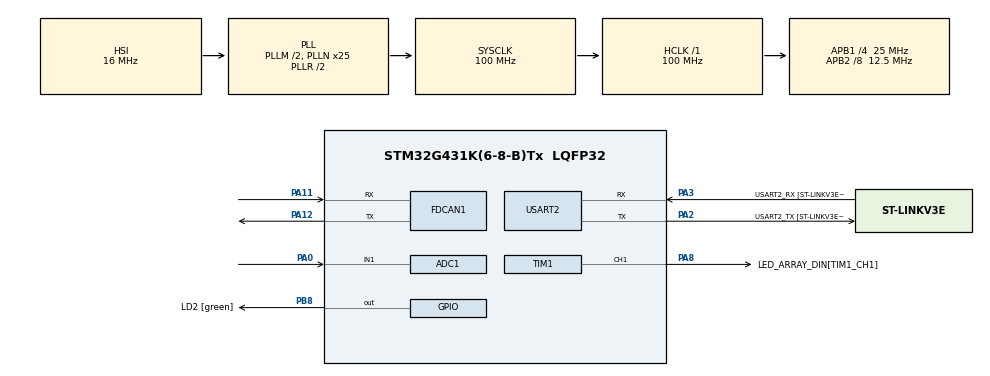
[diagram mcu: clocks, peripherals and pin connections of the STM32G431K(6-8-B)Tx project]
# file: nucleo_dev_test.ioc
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ADC1.Channel-1\#ChannelRegularConversion=ADC_CHANNEL_1
ADC1.ClockPrescaler=ADC_CLOCK_SYNC_PCLK_DIV4
ADC1.ContinuousConvMode=ENABLE
ADC1.NbrOfConversionFlag=1
ADC1.OffsetNumber-1\#ChannelRegularConversion=ADC_OFFSET_NONE
ADC1.Rank-1\#ChannelRegularConversion=1
ADC1.SamplingTime-1\#ChannelRegularConversion=ADC_SAMPLETIME_2CYCLES_5
ADC1.master=1
Dma.Request0=TIM1_CH1
Dma.TIM1_CH1.0.Direction=DMA_MEMORY_TO_PERIPH
Dma.TIM1_CH1.0.EventEnable=DISABLE
Dma.TIM1_CH1.0.Instance=DMA1_Channel1
Dma.TIM1_CH1.0.MemDataAlignment=DMA_MDATAALIGN_HALFWORD
Dma.TIM1_CH1.0.MemInc=DMA_MINC_ENABLE
Dma.TIM1_CH1.0.Mode=DMA_NORMAL
Dma.TIM1_CH1.0.PeriphDataAlignment=DMA_PDATAALIGN_HALFWORD
Dma.TIM1_CH1.0.PeriphInc=DMA_PINC_DISABLE
Dma.TIM1_CH1.0.Polarity=HAL_DMAMUX_REQ_GEN_RISING
Dma.TIM1_CH1.0.Priority=DMA_PRIORITY_MEDIUM
Dma.TIM1_CH1.0.RequestNumber=1
Dma.TIM1_CH1.0.SignalID=NONE
Dma.TIM1_CH1.0.SyncEnable=DISABLE
Dma.TIM1_CH1.0.SyncPolarity=HAL_DMAMUX_SYNC_NO_EVENT
Dma.TIM1_CH1.0.SyncRequestNumber=1
Dma.TIM1_CH1.0.SyncSignalID=NONE
FDCAN1.CalculateBaudRateNominal=1000000
FDCAN1.CalculateTimeBitNominal=1000
FDCAN1.CalculateTimeQuantumNominal=40.0
FDCAN1.DataSyncJumpWidth=3
FDCAN1.DataTimeSeg1=20
FDCAN1.DataTimeSeg2=4
FDCAN1.NominalPrescaler=1
FDCAN1.NominalTimeSeg1=20
FDCAN1.NominalTimeSeg2=4
Mcu.Family=STM32G4
Mcu.Name=STM32G431K(6-8-B)Tx
Mcu.Package=LQFP32
NVIC.DMA1_Channel1_IRQn=true\:0\:0\:false\:false\:true\:false\:true\:true
NVIC.FDCAN1_IT0_IRQn=true\:0\:0\:false\:false\:true\:true\:true\:true
NVIC.PriorityGroup=NVIC_PRIORITYGROUP_4
PA0.Mode=IN1-Single-Ended
PA0.Signal=ADC1_IN1
PA11.Mode=FDCAN_Activate
PA11.Signal=FDCAN1_RX
PA12.Mode=FDCAN_Activate
PA12.Signal=FDCAN1_TX
PA13.GPIO_Label=T_SWDIO
PA13.Mode=Serial_Wire
PA13.Signal=SYS_JTMS-SWDIO
PA14.GPIO_Label=T_SWCLK
PA14.Mode=Serial_Wire
PA14.Signal=SYS_JTCK-SWCLK
PA2.GPIO_Label=USART2_TX [ST-LINKV3E_VCP_RX]
PA2.Mode=Asynchronous
PA2.Signal=USART2_TX
PA3.GPIO_Label=USART2_RX [ST-LINKV3E_VCP_TX]
PA3.Mode=Asynchronous
PA3.Signal=USART2_RX
PA8.GPIO_Label=LED_ARRAY_DIN[TIM1_CH1]
PA8.Signal=S_TIM1_CH1
PB3.GPIO_Label=T_SWO
PB3.Signal=SYS_JTDO-SWO
PB8-BOOT0.GPIO_Label=LD2 [green]
PB8-BOOT0.Signal=GPIO_Output
ProjectManager.HeapSize=0x200
ProjectManager.StackSize=0x400
ProjectManager.TargetToolchain=Makefile
RCC.ADC12Freq_Value=100000000
RCC.AHBFreq_Value=100000000
RCC.APB1CLKDivider=RCC_HCLK_DIV4
RCC.APB1Freq_Value=25000000
RCC.APB1TimFreq_Value=50000000
RCC.APB2CLKDivider=RCC_HCLK_DIV8
RCC.APB2Freq_Value=12500000
RCC.APB2TimFreq_Value=25000000
RCC.CortexFreq_Value=100000000
RCC.EXTERNAL_CLOCK_VALUE=12288000
RCC.HCLKFreq_Value=100000000
RCC.HSE_VALUE=8000000
RCC.HSI48_VALUE=48000000
RCC.HSI_VALUE=16000000
RCC.LSE_VALUE=32768
RCC.PLLM=RCC_PLLM_DIV2
RCC.PLLN=25
RCC.SYSCLKFreq_VALUE=100000000
RCC.SYSCLKSource=RCC_SYSCLKSOURCE_PLLCLK
RCC.USBFreq_Value=100000000
RCC.VCOOutputFreq_Value=200000000
SH.S_TIM1_CH1.0=TIM1_CH1,PWM Generation1 CH1
TIM1.AutoReloadPreload=TIM_AUTORELOAD_PRELOAD_ENABLE
TIM1.BreakPolarity=TIM_BREAKPOLARITY_HIGH
TIM1.BreakState=TIM_BREAK_DISABLE
TIM1.Channel-PWM\ Generation1\ CH1=TIM_CHANNEL_1
TIM1.OC1Preload_PWM=ENABLE
TIM1.OCPolarity_1=TIM_OCPOLARITY_HIGH
TIM1.PeriodNoDither=30
USART2.VirtualMode-Asynchronous=VM_ASYNC
USART2.WordLength=WORDLENGTH_8B
VP_SYS_VS_DBSignals.Mode=DisableDeadBatterySignals
VP_TIM1_VS_ClockSourceINT.Mode=Internal
board=NUCLEO-G431KB

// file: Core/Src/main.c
/* USER CODE BEGIN Header */
/**
 ******************************************************************************
 * @file           : main.c
 * @brief          : Main program body
 ******************************************************************************
 * @attention
 *
 * Copyright (c) 2024 STMicroelectronics.
 * All rights reserved.
 *
 * This software is licensed under terms that can be found in the LICENSE file
 * in the root directory of this software component.
 * If no LICENSE file comes with this software, it is provided AS-IS.
 *
 ******************************************************************************
 */
#include <stdbool.h>
#include <stdio.h>

#include "led_constants.h"
#include "ws2812b_driver.h"
 /* USER CODE END Header */
 /* Includes ------------------------------------------------------------------*/
#include "main.h"

ADC_HandleTypeDef hadc1;

FDCAN_HandleTypeDef hfdcan1;

TIM_HandleTypeDef htim1;
DMA_HandleTypeDef hdma_tim1_ch1;

UART_HandleTypeDef huart2;

/* USER CODE BEGIN PV */
uint8_t custom_led_data[NUM_LEDS][3];                                      // Array that is filled with set_led functions. This essentially "draw" a custom led data in code, useful for testing.
uint16_t pwm_dc_buffer[PWM_DC_BUFFER_SIZE * NUM_BITS_PER_LED + 4];  // Array that contains values to be assigned to the compare register TIMx_CCRx (duty cycle). The additional 4 is for padding 0s between the real DC values, which makes PWM + DMA work better without wrong cycles.

FDCAN_RxHeaderTypeDef RxHeader;
uint8_t RxData[CAN_DLC];

char uart_buffer[50];
uint32_t last_received_valid_data_time;  // The last time [ms] it receives from MPU about the brake status.
uint16_t BRIGHTNESS;               // The sampled ADC value that represents brightness.
volatile bool no_data_received_flag;
volatile enum DISPLAY current_img_on_display;
/* USER CODE END PV */

void SystemClock_Config(void);
static void MX_GPIO_Init(void);
static void MX_DMA_Init(void);
static void MX_USART2_UART_Init(void);
static void MX_ADC1_Init(void);
static void MX_TIM1_Init(void);
static void MX_FDCAN1_Init(void);

/* USER CODE BEGIN 0 */

// Perform single conversion ADC.
uint16_t sample_ADC() {
    HAL_ADC_Start(&hadc1);
    HAL_ADC_PollForConversion(&hadc1, 100);
    uint16_t val = HAL_ADC_GetValue(&hadc1);
    HAL_ADC_Stop(&hadc1);
    return val;
}
// Codes for testing pwm.
// uint16_t test_pwm_buffer[] = { 0, 0, 10, 10, 10, 10, 20, 10, 15, 15, 0, 0 };
// uint16_t test_pwm_buffer2[] = { 0, 0, 20, 20, 15, 10, 5, 5, 0, 0 };
// void send_pwm(uint16_t* pwm_array, int size) {
//     while (hdma_tim1_ch1.State != HAL_DMA_STATE_READY) {}
//     HAL_TIM_PWM_Start_DMA(&htim1, TIM_CHANNEL_1, (uint32_t*)pwm_array, size / sizeof(uint16_t));
// }

/* USER CODE END 0 */

int main(void) {

    /* MCU Configuration--------------------------------------------------------*/

    /* Reset of all peripherals, Initializes the Flash interface and the Systick. */
    HAL_Init();

    /* Configure the system clock */
    SystemClock_Config();

    /* Initialize all configured peripherals */
    MX_GPIO_Init();
    MX_DMA_Init();
    MX_USART2_UART_Init();
    MX_ADC1_Init();
    MX_TIM1_Init();
    MX_FDCAN1_Init();
    /* USER CODE BEGIN 2 */

    // Initialize global variables.
    memset(pwm_dc_buffer, 0, sizeof(pwm_dc_buffer));
    BRIGHTNESS = 500; // BRIGHTNESS = sample_ADC();
    no_data_received_flag = false;
    last_received_valid_data_time = HAL_GetTick();
    current_img_on_display = OTHER_IMG;
    // Start the led matrix with a husky logo for 2 seconds.
    uint32_t current_time = HAL_GetTick();
    uint32_t end_time = current_time + 2000;
    uint32_t animation_start_time = current_time;
    while (current_time < end_time) {
        show_husky_animation(animation_start_time, BRIGHTNESS);
        current_time = HAL_GetTick();
    }
    // Set it back to black.
    send_led_data(FILLED_BLACK, BRIGHTNESS);
    /* USER CODE END 2 */

    /* Infinite loop */
    /* USER CODE BEGIN WHILE */
    while (1) {
        current_time = HAL_GetTick();
        // If it doesn't hear back from MPU for TIMEOUT_PERIOD about the brake status, blink yellow.
        if (current_time - last_received_valid_data_time > TIMEOUT_PERIOD) {
            no_data_received_flag = true;
            uint32_t animation_start_time = HAL_GetTick();
            while (no_data_received_flag) {
                show_blinking_animation(animation_start_time, 500, COLOR_YELLOW, BRIGHTNESS);
            }
        }
    }
    /* USER CODE END WHILE */

}

void SystemClock_Config(void) {
    RCC_OscInitTypeDef RCC_OscInitStruct = { 0 };
    RCC_ClkInitTypeDef RCC_ClkInitStruct = { 0 };

    /** Configure the main internal regulator output voltage
     */
    HAL_PWREx_ControlVoltageScaling(PWR_REGULATOR_VOLTAGE_SCALE1);

    /** Initializes the RCC Oscillators according to the specified parameters
     * in the RCC_OscInitTypeDef structure.
     */
    RCC_OscInitStruct.OscillatorType = RCC_OSCILLATORTYPE_HSI;
    RCC_OscInitStruct.HSIState = RCC_HSI_ON;
    RCC_OscInitStruct.HSICalibrationValue = RCC_HSICALIBRATION_DEFAULT;
    RCC_OscInitStruct.PLL.PLLState = RCC_PLL_ON;
    RCC_OscInitStruct.PLL.PLLSource = RCC_PLLSOURCE_HSI;
    RCC_OscInitStruct.PLL.PLLM = RCC_PLLM_DIV2;
    RCC_OscInitStruct.PLL.PLLN = 25;
    RCC_OscInitStruct.PLL.PLLP = RCC_PLLP_DIV2;
    RCC_OscInitStruct.PLL.PLLQ = RCC_PLLQ_DIV2;
    RCC_OscInitStruct.PLL.PLLR = RCC_PLLR_DIV2;
    if (HAL_RCC_OscConfig(&RCC_OscInitStruct) != HAL_OK) {
        Error_Handler();
    }

    /** Initializes the CPU, AHB and APB buses clocks
     */
    RCC_ClkInitStruct.ClockType = RCC_CLOCKTYPE_HCLK | RCC_CLOCKTYPE_SYSCLK | RCC_CLOCKTYPE_PCLK1 | RCC_CLOCKTYPE_PCLK2;
    RCC_ClkInitStruct.SYSCLKSource = RCC_SYSCLKSOURCE_PLLCLK;
    RCC_ClkInitStruct.AHBCLKDivider = RCC_SYSCLK_DIV1;
    RCC_ClkInitStruct.APB1CLKDivider = RCC_HCLK_DIV4;
    RCC_ClkInitStruct.APB2CLKDivider = RCC_HCLK_DIV8;

    if (HAL_RCC_ClockConfig(&RCC_ClkInitStruct, FLASH_LATENCY_3) != HAL_OK) {
        Error_Handler();
    }
}

static void MX_ADC1_Init(void) {

    ADC_MultiModeTypeDef multimode = { 0 };
    ADC_ChannelConfTypeDef sConfig = { 0 };

    /** Common config
     */
    hadc1.Instance = ADC1;
    hadc1.Init.ClockPrescaler = ADC_CLOCK_SYNC_PCLK_DIV4;
    hadc1.Init.Resolution = ADC_RESOLUTION_12B;
    hadc1.Init.DataAlign = ADC_DATAALIGN_RIGHT;
    hadc1.Init.GainCompensation = 0;
    hadc1.Init.ScanConvMode = ADC_SCAN_DISABLE;
    hadc1.Init.EOCSelection = ADC_EOC_SINGLE_CONV;
    hadc1.Init.LowPowerAutoWait = DISABLE;
    hadc1.Init.ContinuousConvMode = ENABLE;
    hadc1.Init.NbrOfConversion = 1;
    hadc1.Init.DiscontinuousConvMode = DISABLE;
    hadc1.Init.ExternalTrigConv = ADC_SOFTWARE_START;
    hadc1.Init.ExternalTrigConvEdge = ADC_EXTERNALTRIGCONVEDGE_NONE;
    hadc1.Init.DMAContinuousRequests = DISABLE;
    hadc1.Init.Overrun = ADC_OVR_DATA_PRESERVED;
    hadc1.Init.OversamplingMode = DISABLE;
    if (HAL_ADC_Init(&hadc1) != HAL_OK) {
        Error_Handler();
    }

    /** Configure the ADC multi-mode
     */
    multimode.Mode = ADC_MODE_INDEPENDENT;
    if (HAL_ADCEx_MultiModeConfigChannel(&hadc1, &multimode) != HAL_OK) {
        Error_Handler();
    }

    /** Configure Regular Channel
     */
    sConfig.Channel = ADC_CHANNEL_1;
    sConfig.Rank = ADC_REGULAR_RANK_1;
    sConfig.SamplingTime = ADC_SAMPLETIME_2CYCLES_5;
    sConfig.SingleDiff = ADC_SINGLE_ENDED;
    sConfig.OffsetNumber = ADC_OFFSET_NONE;
    sConfig.Offset = 0;
    if (HAL_ADC_ConfigChannel(&hadc1, &sConfig) != HAL_OK) {
        Error_Handler();
    }
}

static void MX_FDCAN1_Init(void) {

    hfdcan1.Instance = FDCAN1;
    hfdcan1.Init.ClockDivider = FDCAN_CLOCK_DIV1;
    hfdcan1.Init.FrameFormat = FDCAN_FRAME_CLASSIC;
    hfdcan1.Init.Mode = FDCAN_MODE_NORMAL;
    hfdcan1.Init.AutoRetransmission = DISABLE;
    hfdcan1.Init.TransmitPause = DISABLE;
    hfdcan1.Init.ProtocolException = DISABLE;
    hfdcan1.Init.NominalPrescaler = 1;
    hfdcan1.Init.NominalSyncJumpWidth = 1;
    hfdcan1.Init.NominalTimeSeg1 = 20;
    hfdcan1.Init.NominalTimeSeg2 = 4;
    hfdcan1.Init.DataPrescaler = 1;
    hfdcan1.Init.DataSyncJumpWidth = 3;
    hfdcan1.Init.DataTimeSeg1 = 20;
    hfdcan1.Init.DataTimeSeg2 = 4;
    hfdcan1.Init.StdFiltersNbr = 0;
    hfdcan1.Init.ExtFiltersNbr = 0;
    hfdcan1.Init.TxFifoQueueMode = FDCAN_TX_FIFO_OPERATION;
    if (HAL_FDCAN_Init(&hfdcan1) != HAL_OK) {
        Error_Handler();
    }
    /* USER CODE BEGIN FDCAN1_Init 2 */

    // Set up filter that only listen to steering wheel messages.
    FDCAN_FilterTypeDef filter_config;
    filter_config.IdType = FDCAN_STANDARD_ID;      // 11-bit standard identifiers
    filter_config.FilterIndex = 0;                 // Use filter 0
    filter_config.FilterType = FDCAN_FILTER_DUAL;  // Use a filter that matches one or two specific ids.
    filter_config.FilterID1 = TARGET_MSG_ID;
    filter_config.FilterID2 = TARGET_MSG_ID;
    filter_config.FilterConfig = FDCAN_FILTER_TO_RXFIFO0;  // Store in RxFIFO0 for messages that passes the filter.
    HAL_FDCAN_ConfigFilter(&hfdcan1, &filter_config);

    // Enable Interrupt whenever RxFIFO0 has a new message.
    HAL_FDCAN_ActivateNotification(&hfdcan1, FDCAN_IT_RX_FIFO0_NEW_MESSAGE, 0);

    /* USER CODE END FDCAN1_Init 2 */
}

static void MX_TIM1_Init(void) {

    TIM_ClockConfigTypeDef sClockSourceConfig = { 0 };
    TIM_MasterConfigTypeDef sMasterConfig = { 0 };
    TIM_OC_InitTypeDef sConfigOC = { 0 };
    TIM_BreakDeadTimeConfigTypeDef sBreakDeadTimeConfig = { 0 };

    htim1.Instance = TIM1;
    htim1.Init.Prescaler = 0;
    htim1.Init.CounterMode = TIM_COUNTERMODE_UP;
    htim1.Init.Period = 30;
    htim1.Init.ClockDivision = TIM_CLOCKDIVISION_DIV1;
    htim1.Init.RepetitionCounter = 0;
    htim1.Init.AutoReloadPreload = TIM_AUTORELOAD_PRELOAD_ENABLE;
    if (HAL_TIM_Base_Init(&htim1) != HAL_OK) {
        Error_Handler();
    }
    sClockSourceConfig.ClockSource = TIM_CLOCKSOURCE_INTERNAL;
    if (HAL_TIM_ConfigClockSource(&htim1, &sClockSourceConfig) != HAL_OK) {
        Error_Handler();
    }
    if (HAL_TIM_PWM_Init(&htim1) != HAL_OK) {
        Error_Handler();
    }
    sMasterConfig.MasterOutputTrigger = TIM_TRGO_RESET;
    sMasterConfig.MasterOutputTrigger2 = TIM_TRGO2_RESET;
    sMasterConfig.MasterSlaveMode = TIM_MASTERSLAVEMODE_DISABLE;
    if (HAL_TIMEx_MasterConfigSynchronization(&htim1, &sMasterConfig) != HAL_OK) {
        Error_Handler();
    }
    sConfigOC.OCMode = TIM_OCMODE_PWM1;
    sConfigOC.Pulse = 0;
    sConfigOC.OCPolarity = TIM_OCPOLARITY_HIGH;
    sConfigOC.OCNPolarity = TIM_OCNPOLARITY_HIGH;
    sConfigOC.OCFastMode = TIM_OCFAST_DISABLE;
    sConfigOC.OCIdleState = TIM_OCIDLESTATE_RESET;
    sConfigOC.OCNIdleState = TIM_OCNIDLESTATE_RESET;
    if (HAL_TIM_PWM_ConfigChannel(&htim1, &sConfigOC, TIM_CHANNEL_1) != HAL_OK) {
        Error_Handler();
    }
    sBreakDeadTimeConfig.OffStateRunMode = TIM_OSSR_DISABLE;
    sBreakDeadTimeConfig.OffStateIDLEMode = TIM_OSSI_DISABLE;
    sBreakDeadTimeConfig.LockLevel = TIM_LOCKLEVEL_OFF;
    sBreakDeadTimeConfig.DeadTime = 0;
    sBreakDeadTimeConfig.BreakState = TIM_BREAK_DISABLE;
    sBreakDeadTimeConfig.BreakPolarity = TIM_BREAKPOLARITY_HIGH;
    sBreakDeadTimeConfig.BreakFilter = 0;
    sBreakDeadTimeConfig.BreakAFMode = TIM_BREAK_AFMODE_INPUT;
    sBreakDeadTimeConfig.Break2State = TIM_BREAK2_DISABLE;
    sBreakDeadTimeConfig.Break2Polarity = TIM_BREAK2POLARITY_HIGH;
    sBreakDeadTimeConfig.Break2Filter = 0;
    sBreakDeadTimeConfig.Break2AFMode = TIM_BREAK_AFMODE_INPUT;
    sBreakDeadTimeConfig.AutomaticOutput = TIM_AUTOMATICOUTPUT_DISABLE;
    if (HAL_TIMEx_ConfigBreakDeadTime(&htim1, &sBreakDeadTimeConfig) != HAL_OK) {
        Error_Handler();
    }
    HAL_TIM_MspPostInit(&htim1);
}

static void MX_USART2_UART_Init(void) {

    huart2.Instance = USART2;
    huart2.Init.BaudRate = 115200;
    huart2.Init.WordLength = UART_WORDLENGTH_8B;
    huart2.Init.StopBits = UART_STOPBITS_1;
    huart2.Init.Parity = UART_PARITY_NONE;
    huart2.Init.Mode = UART_MODE_TX_RX;
    huart2.Init.HwFlowCtl = UART_HWCONTROL_NONE;
    huart2.Init.OverSampling = UART_OVERSAMPLING_16;
    huart2.Init.OneBitSampling = UART_ONE_BIT_SAMPLE_DISABLE;
    huart2.Init.ClockPrescaler = UART_PRESCALER_DIV1;
    huart2.AdvancedInit.AdvFeatureInit = UART_ADVFEATURE_NO_INIT;
    if (HAL_UART_Init(&huart2) != HAL_OK) {
        Error_Handler();
    }
    if (HAL_UARTEx_SetTxFifoThreshold(&huart2, UART_TXFIFO_THRESHOLD_1_8) != HAL_OK) {
        Error_Handler();
    }
    if (HAL_UARTEx_SetRxFifoThreshold(&huart2, UART_RXFIFO_THRESHOLD_1_8) != HAL_OK) {
        Error_Handler();
    }
    if (HAL_UARTEx_DisableFifoMode(&huart2) != HAL_OK) {
        Error_Handler();
    }
}

static void MX_DMA_Init(void) {
    /* DMA controller clock enable */
    __HAL_RCC_DMAMUX1_CLK_ENABLE();
    __HAL_RCC_DMA1_CLK_ENABLE();

    /* DMA interrupt init */
    /* DMA1_Channel1_IRQn interrupt configuration */
    HAL_NVIC_SetPriority(DMA1_Channel1_IRQn, 0, 0);
    HAL_NVIC_EnableIRQ(DMA1_Channel1_IRQn);
}

static void MX_GPIO_Init(void) {
    GPIO_InitTypeDef GPIO_InitStruct = { 0 };

    /* GPIO Ports Clock Enable */
    __HAL_RCC_GPIOA_CLK_ENABLE();
    __HAL_RCC_GPIOB_CLK_ENABLE();

    /*Configure GPIO pin Output Level */
    HAL_GPIO_WritePin(LD2_GPIO_Port, LD2_Pin, GPIO_PIN_RESET);

    /*Configure GPIO pin : LD2_Pin */
    GPIO_InitStruct.Pin = LD2_Pin;
    GPIO_InitStruct.Mode = GPIO_MODE_OUTPUT_PP;
    GPIO_InitStruct.Pull = GPIO_NOPULL;
    GPIO_InitStruct.Speed = GPIO_SPEED_FREQ_LOW;
    HAL_GPIO_Init(LD2_GPIO_Port, &GPIO_InitStruct);

}

/* USER CODE BEGIN 4 */

void HAL_FDCAN_RxFifo0Callback(FDCAN_HandleTypeDef* hfdcan, uint32_t RxFifo0ITs) {
    // Store data from RxFifo0 in Rxheader and Rxdata.
    // No need to check message ID as the filter only allows through the brake message ID.
    HAL_FDCAN_GetRxMessage(hfdcan, FDCAN_RX_FIFO0, &RxHeader, RxData);

    // Brake message is received continuously from MPU. The first byte is 0x01 if brake, else 0x00.
    if (RxData[0] == BRAKE_ON) {
        last_received_valid_data_time = HAL_GetTick();
        no_data_received_flag = false;
        // Send red image only if it's not displaying it right now.
        if (current_img_on_display != BRAKE_ON_IMG) {
            send_led_data(FILLED_RED, BRIGHTNESS);
            current_img_on_display = BRAKE_ON_IMG;
        }
    } else if (RxData[0] == BRAKE_OFF) {
        last_received_valid_data_time = HAL_GetTick();
        no_data_received_flag = false;
        // Send black image only if it's not displaying it right now.
        if (current_img_on_display != BRAKE_OFF_IMG) {
            send_led_data(FILLED_BLACK, BRIGHTNESS);
            current_img_on_display = BRAKE_OFF_IMG;
        }
    } else {
        // For any other data, don't acknowledge it.
    }

#if DEBUG
    // Transmit the first byte.
    HAL_UART_Transmit(&huart2, RxData, 1, HAL_MAX_DELAY);
#endif
}

/* USER CODE END 4 */

void Error_Handler(void) {
    __disable_irq();
    while (1) {}
}
